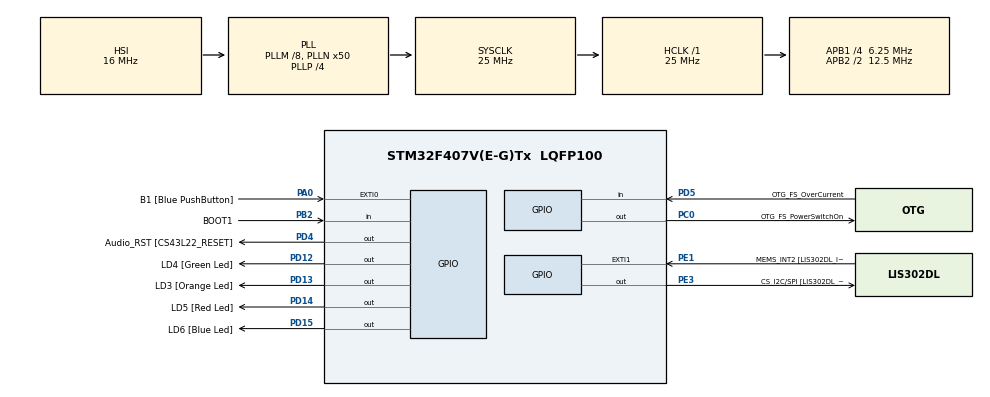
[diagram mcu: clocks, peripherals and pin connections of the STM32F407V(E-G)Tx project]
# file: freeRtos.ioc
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FREERTOS.Tasks01=defaultTask,24,128,StartDefaultTask,Default,NULL,Dynamic,NULL,NULL;Task01,8,128,StartTask01,Default,NULL,Dynamic,NULL,NULL;Task02,24,128,StartTask02,Default,NULL,Dynamic,NULL,NULL
Mcu.Family=STM32F4
Mcu.Name=STM32F407V(E-G)Tx
Mcu.Package=LQFP100
NVIC.PriorityGroup=NVIC_PRIORITYGROUP_4
NVIC.TIM6_DAC_IRQn=true\:15\:0\:false\:false\:true\:false\:false\:true\:true
NVIC.TimeBase=TIM6_DAC_IRQn
NVIC.TimeBaseIP=TIM6
PA0-WKUP.GPIO_Label=B1 [Blue PushButton]
PA0-WKUP.Signal=GPXTI0
PA10.GPIO_Label=OTG_FS_ID
PA10.GPIO_Mode=GPIO_MODE_AF_PP
PA10.GPIO_PuPd=GPIO_NOPULL
PA10.GPIO_Speed=GPIO_SPEED_FREQ_LOW
PA10.Signal=USB_OTG_FS_ID
PA11.GPIO_Label=OTG_FS_DM
PA11.GPIO_Mode=GPIO_MODE_AF_PP
PA11.GPIO_PuPd=GPIO_NOPULL
PA11.GPIO_Speed=GPIO_SPEED_FREQ_LOW
PA11.Signal=USB_OTG_FS_DM
PA12.GPIO_Label=OTG_FS_DP
PA12.GPIO_Mode=GPIO_MODE_AF_PP
PA12.GPIO_PuPd=GPIO_NOPULL
PA12.GPIO_Speed=GPIO_SPEED_FREQ_LOW
PA12.Signal=USB_OTG_FS_DP
PA13.GPIO_Label=SWDIO
PA13.Mode=Trace_Asynchronous_SW
PA13.Signal=SYS_JTMS-SWDIO
PA14.GPIO_Label=SWCLK
PA14.Mode=Trace_Asynchronous_SW
PA14.Signal=SYS_JTCK-SWCLK
PA4.GPIO_Label=I2S3_WS [CS43L22_LRCK]
PA4.GPIO_Mode=GPIO_MODE_AF_PP
PA4.GPIO_PuPd=GPIO_NOPULL
PA4.GPIO_Speed=GPIO_SPEED_FREQ_LOW
PA4.Signal=I2S3_WS
PA5.GPIO_Label=SPI1_SCK [LIS302DL_SCL/SPC]
PA5.GPIO_Mode=GPIO_MODE_AF_PP
PA5.GPIO_PuPd=GPIO_NOPULL
PA5.GPIO_Speed=GPIO_SPEED_FREQ_LOW
PA5.Signal=SPI1_SCK
PA6.GPIO_Label=SPI1_MISO [LIS302DL_SDO]
PA6.GPIO_Mode=GPIO_MODE_AF_PP
PA6.GPIO_PuPd=GPIO_NOPULL
PA6.GPIO_Speed=GPIO_SPEED_FREQ_LOW
PA6.Signal=SPI1_MISO
PA7.GPIO_Label=SPI1_MOSI [LIS302DL_SDA/SDI/SDO]
PA7.GPIO_Mode=GPIO_MODE_AF_PP
PA7.GPIO_PuPd=GPIO_NOPULL
PA7.GPIO_Speed=GPIO_SPEED_FREQ_LOW
PA7.Signal=SPI1_MOSI
PA9.GPIO_Label=VBUS_FS
PA9.GPIO_Mode=GPIO_MODE_INPUT
PA9.GPIO_PuPd=GPIO_NOPULL
PA9.Signal=USB_OTG_FS_VBUS
PB10.GPIO_Label=CLK_IN [MP45DT02_CLK]
PB10.GPIO_Mode=GPIO_MODE_AF_PP
PB10.GPIO_PuPd=GPIO_NOPULL
PB10.GPIO_Speed=GPIO_SPEED_FREQ_LOW
PB10.Signal=I2S2_CK
PB2.GPIO_Label=BOOT1
PB2.GPIO_Mode=GPIO_MODE_INPUT
PB2.GPIO_PuPd=GPIO_NOPULL
PB2.Signal=GPIO_Input
PB3.GPIO_Label=SWO
PB3.Mode=Trace_Asynchronous_SW
PB3.Signal=SYS_JTDO-SWO
PB6.GPIO_Label=Audio_SCL [CS43L22_SCL]
PB6.GPIO_Mode=GPIO_MODE_AF_OD
PB6.GPIO_PuPd=GPIO_NOPULL
PB6.GPIO_Speed=GPIO_SPEED_FREQ_LOW
PB6.Signal=I2C1_SCL
PB9.GPIO_Label=Audio_SDA [CS43L22_SDA]
PB9.GPIO_Mode=GPIO_MODE_AF_OD
PB9.GPIO_PuPd=GPIO_NOPULL
PB9.GPIO_Speed=GPIO_SPEED_FREQ_LOW
PB9.Signal=I2C1_SDA
PC0.GPIO_Label=OTG_FS_PowerSwitchOn
PC0.GPIO_PuPd=GPIO_NOPULL
PC0.GPIO_Speed=GPIO_SPEED_FREQ_LOW
PC0.PinState=GPIO_PIN_SET
PC0.Signal=GPIO_Output
PC10.GPIO_Label=I2S3_SCK [CS43L22_SCLK]
PC10.GPIO_Mode=GPIO_MODE_AF_PP
PC10.GPIO_PuPd=GPIO_NOPULL
PC10.GPIO_Speed=GPIO_SPEED_FREQ_LOW
PC10.Signal=I2S3_CK
PC12.GPIO_Label=I2S3_SD [CS43L22_SDIN]
PC12.GPIO_Mode=GPIO_MODE_AF_PP
PC12.GPIO_PuPd=GPIO_NOPULL
PC12.GPIO_Speed=GPIO_SPEED_FREQ_LOW
PC12.Signal=I2S3_SD
PC14-OSC32_IN.GPIO_Label=PC14-OSC32_IN
PC14-OSC32_IN.Signal=RCC_OSC32_IN
PC15-OSC32_OUT.GPIO_Label=PC15-OSC32_OUT
PC15-OSC32_OUT.Signal=RCC_OSC32_OUT
PC3.GPIO_Label=PDM_OUT [MP45DT02_DOUT]
PC3.GPIO_Mode=GPIO_MODE_AF_PP
PC3.GPIO_PuPd=GPIO_NOPULL
PC3.GPIO_Speed=GPIO_SPEED_FREQ_LOW
PC3.Signal=I2S2_SD
PC7.GPIO_Label=I2S3_MCK [CS43L22_MCLK]
PC7.GPIO_Mode=GPIO_MODE_AF_PP
PC7.GPIO_PuPd=GPIO_NOPULL
PC7.GPIO_Speed=GPIO_SPEED_FREQ_LOW
PC7.Signal=I2S3_MCK
PD12.GPIO_Label=LD4 [Green Led]
PD12.GPIO_PuPd=GPIO_NOPULL
PD12.GPIO_Speed=GPIO_SPEED_FREQ_LOW
PD12.Signal=GPIO_Output
PD13.GPIO_Label=LD3 [Orange Led]
PD13.GPIO_PuPd=GPIO_NOPULL
PD13.GPIO_Speed=GPIO_SPEED_FREQ_LOW
PD13.Signal=GPIO_Output
PD14.GPIO_Label=LD5 [Red Led]
PD14.GPIO_PuPd=GPIO_NOPULL
PD14.GPIO_Speed=GPIO_SPEED_FREQ_LOW
PD14.Signal=GPIO_Output
PD15.GPIO_Label=LD6 [Blue Led]
PD15.GPIO_PuPd=GPIO_NOPULL
PD15.GPIO_Speed=GPIO_SPEED_FREQ_LOW
PD15.Signal=GPIO_Output
PD4.GPIO_Label=Audio_RST [CS43L22_RESET]
PD4.GPIO_PuPd=GPIO_NOPULL
PD4.GPIO_Speed=GPIO_SPEED_FREQ_LOW
PD4.Signal=GPIO_Output
PD5.GPIO_Label=OTG_FS_OverCurrent
PD5.GPIO_Mode=GPIO_MODE_INPUT
PD5.GPIO_PuPd=GPIO_NOPULL
PD5.Signal=GPIO_Input
PE1.GPIO_Label=MEMS_INT2 [LIS302DL_INT2]
PE1.GPIO_ModeDefaultEXTI=GPIO_MODE_EVT_RISING
PE1.GPIO_PuPd=GPIO_NOPULL
PE1.Signal=GPXTI1
PE3.GPIO_Label=CS_I2C/SPI [LIS302DL_CS_I2C/SPI]
PE3.GPIO_PuPd=GPIO_NOPULL
PE3.GPIO_Speed=GPIO_SPEED_FREQ_LOW
PE3.Signal=GPIO_Output
PH0-OSC_IN.GPIO_Label=PH0-OSC_IN
PH0-OSC_IN.Signal=RCC_OSC_IN
PH1-OSC_OUT.GPIO_Label=PH1-OSC_OUT
PH1-OSC_OUT.Signal=RCC_OSC_OUT
ProjectManager.HeapSize=0x200
ProjectManager.StackSize=0x400
ProjectManager.TargetToolchain=STM32CubeIDE
RCC.48MHZClocksFreq_Value=14285714.285714285
RCC.AHBFreq_Value=25000000
RCC.APB1CLKDivider=RCC_HCLK_DIV4
RCC.APB1Freq_Value=6250000
RCC.APB1TimFreq_Value=12500000
RCC.APB2CLKDivider=RCC_HCLK_DIV2
RCC.APB2Freq_Value=12500000
RCC.APB2TimFreq_Value=25000000
RCC.CortexFreq_Value=25000000
RCC.HCLKFreq_Value=25000000
RCC.HSE_VALUE=8000000
RCC.HSI_VALUE=16000000
RCC.LSE_VALUE=32768
RCC.PLLM=8
RCC.PLLN=50
RCC.PLLP=RCC_PLLP_DIV4
RCC.PLLQ=7
RCC.SYSCLKFreq_VALUE=25000000
RCC.SYSCLKSource=RCC_SYSCLKSOURCE_PLLCLK
RCC.VCOOutputFreq_Value=100000000
VP_FREERTOS_VS_CMSIS_V2.Mode=CMSIS_V2
VP_SYS_VS_tim6.Mode=TIM6
board=STM32F407G-DISC1

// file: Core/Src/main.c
/* USER CODE BEGIN Header */
/**
  ******************************************************************************
  * @file           : main.c
  * @brief          : Main program body
  ******************************************************************************
  * @attention
  *
  * Copyright (c) 2024 STMicroelectronics.
  * All rights reserved.
  *
  * This software is licensed under terms that can be found in the LICENSE file
  * in the root directory of this software component.
  * If no LICENSE file comes with this software, it is provided AS-IS.
  *
  ******************************************************************************
  */
/* USER CODE END Header */
#include "main.h"

/* USER CODE BEGIN Includes */
#include <stdio.h>
#include "FreeRTOS.h"
#include "task.h"

/* USER CODE END Includes */

/* USER CODE BEGIN PD */
#define DWT_CTRL (*(volatile uint32_t *)0xE0001000)

/* USER CODE END PD */

/* Definitions for defaultTask */

void SystemClock_Config(void);
static void MX_GPIO_Init(void);
//void StartDefaultTask(void *argument);
//void StartTask01(void *argument);
//void StartTask02(void *argument);
static void Task1_Handle(void* parameters);
static void Task2_Handle(void* parameters);

int main(void)
{
  /* USER CODE BEGIN 1 */
	TaskHandle_t task1_handle;
	TaskHandle_t task2_handle;
	BaseType_t status;

  /* USER CODE END 1 */

  /* MCU Configuration--------------------------------------------------------*/

  /* Reset of all peripherals, Initializes the Flash interface and the Systick. */
  HAL_Init();

  /* Configure the system clock */
  SystemClock_Config();

  /* Initialize all configured peripherals */
  MX_GPIO_Init();

  /* Init scheduler */

  /* Create the thread(s) */
  /* creation of defaultTask */
  /* Enable CYCNT counter */
  DWT_CTRL |= (1<<0);

  SEGGER_SYSVIEW_Conf();
  SEGGER_SYSVIEW_Start();

  status = xTaskCreate(Task1_Handle, "Task-1", 200, "Hello World from Task-1",2, &task1_handle);

  configASSERT(status == pdPASS);

  status = xTaskCreate(Task2_Handle, "Task-2", 200, "Hello World from Task-2",2, &task2_handle);

  configASSERT(status == pdPASS);

  vTaskStartScheduler();

  /* creation of Task02 */

  /* Start scheduler */

  /* We should never get here as control is now taken by the scheduler */
  /* Infinite loop */
  while (1)
  {

  }
}

void SystemClock_Config(void)
{
  RCC_OscInitTypeDef RCC_OscInitStruct = {0};
  RCC_ClkInitTypeDef RCC_ClkInitStruct = {0};

  /** Configure the main internal regulator output voltage
  */
  __HAL_RCC_PWR_CLK_ENABLE();
  __HAL_PWR_VOLTAGESCALING_CONFIG(PWR_REGULATOR_VOLTAGE_SCALE1);

  /** Initializes the RCC Oscillators according to the specified parameters
  * in the RCC_OscInitTypeDef structure.
  */
  RCC_OscInitStruct.OscillatorType = RCC_OSCILLATORTYPE_HSI;
  RCC_OscInitStruct.HSIState = RCC_HSI_ON;
  RCC_OscInitStruct.HSICalibrationValue = RCC_HSICALIBRATION_DEFAULT;
  RCC_OscInitStruct.PLL.PLLState = RCC_PLL_ON;
  RCC_OscInitStruct.PLL.PLLSource = RCC_PLLSOURCE_HSI;
  RCC_OscInitStruct.PLL.PLLM = 8;
  RCC_OscInitStruct.PLL.PLLN = 50;
  RCC_OscInitStruct.PLL.PLLP = RCC_PLLP_DIV4;
  RCC_OscInitStruct.PLL.PLLQ = 7;
  if (HAL_RCC_OscConfig(&RCC_OscInitStruct) != HAL_OK)
  {
    Error_Handler();
  }

  /** Initializes the CPU, AHB and APB buses clocks
  */
  RCC_ClkInitStruct.ClockType = RCC_CLOCKTYPE_HCLK|RCC_CLOCKTYPE_SYSCLK
                              |RCC_CLOCKTYPE_PCLK1|RCC_CLOCKTYPE_PCLK2;
  RCC_ClkInitStruct.SYSCLKSource = RCC_SYSCLKSOURCE_PLLCLK;
  RCC_ClkInitStruct.AHBCLKDivider = RCC_SYSCLK_DIV1;
  RCC_ClkInitStruct.APB1CLKDivider = RCC_HCLK_DIV4;
  RCC_ClkInitStruct.APB2CLKDivider = RCC_HCLK_DIV2;

  if (HAL_RCC_ClockConfig(&RCC_ClkInitStruct, FLASH_LATENCY_0) != HAL_OK)
  {
    Error_Handler();
  }
}

static void MX_GPIO_Init(void)
{
  GPIO_InitTypeDef GPIO_InitStruct = {0};

  /* GPIO Ports Clock Enable */
  __HAL_RCC_GPIOE_CLK_ENABLE();
  __HAL_RCC_GPIOC_CLK_ENABLE();
  __HAL_RCC_GPIOH_CLK_ENABLE();
  __HAL_RCC_GPIOA_CLK_ENABLE();
  __HAL_RCC_GPIOB_CLK_ENABLE();
  __HAL_RCC_GPIOD_CLK_ENABLE();

  /*Configure GPIO pin Output Level */
  HAL_GPIO_WritePin(CS_I2C_SPI_GPIO_Port, CS_I2C_SPI_Pin, GPIO_PIN_RESET);

  /*Configure GPIO pin Output Level */
  HAL_GPIO_WritePin(OTG_FS_PowerSwitchOn_GPIO_Port, OTG_FS_PowerSwitchOn_Pin, GPIO_PIN_SET);

  /*Configure GPIO pin Output Level */
  HAL_GPIO_WritePin(GPIOD, LD4_Pin|LD3_Pin|LD5_Pin|LD6_Pin
                          |Audio_RST_Pin, GPIO_PIN_RESET);

  /*Configure GPIO pin : CS_I2C_SPI_Pin */
  GPIO_InitStruct.Pin = CS_I2C_SPI_Pin;
  GPIO_InitStruct.Mode = GPIO_MODE_OUTPUT_PP;
  GPIO_InitStruct.Pull = GPIO_NOPULL;
  GPIO_InitStruct.Speed = GPIO_SPEED_FREQ_LOW;
  HAL_GPIO_Init(CS_I2C_SPI_GPIO_Port, &GPIO_InitStruct);

  /*Configure GPIO pin : OTG_FS_PowerSwitchOn_Pin */
  GPIO_InitStruct.Pin = OTG_FS_PowerSwitchOn_Pin;
  GPIO_InitStruct.Mode = GPIO_MODE_OUTPUT_PP;
  GPIO_InitStruct.Pull = GPIO_NOPULL;
  GPIO_InitStruct.Speed = GPIO_SPEED_FREQ_LOW;
  HAL_GPIO_Init(OTG_FS_PowerSwitchOn_GPIO_Port, &GPIO_InitStruct);

  /*Configure GPIO pin : PDM_OUT_Pin */
  GPIO_InitStruct.Pin = PDM_OUT_Pin;
  GPIO_InitStruct.Mode = GPIO_MODE_AF_PP;
  GPIO_InitStruct.Pull = GPIO_NOPULL;
  GPIO_InitStruct.Speed = GPIO_SPEED_FREQ_LOW;
  GPIO_InitStruct.Alternate = GPIO_AF5_SPI2;
  HAL_GPIO_Init(PDM_OUT_GPIO_Port, &GPIO_InitStruct);

  /*Configure GPIO pin : B1_Pin */
  GPIO_InitStruct.Pin = B1_Pin;
  GPIO_InitStruct.Mode = GPIO_MODE_IT_RISING;
  GPIO_InitStruct.Pull = GPIO_NOPULL;
  HAL_GPIO_Init(B1_GPIO_Port, &GPIO_InitStruct);

  /*Configure GPIO pin : I2S3_WS_Pin */
  GPIO_InitStruct.Pin = I2S3_WS_Pin;
  GPIO_InitStruct.Mode = GPIO_MODE_AF_PP;
  GPIO_InitStruct.Pull = GPIO_NOPULL;
  GPIO_InitStruct.Speed = GPIO_SPEED_FREQ_LOW;
  GPIO_InitStruct.Alternate = GPIO_AF6_SPI3;
  HAL_GPIO_Init(I2S3_WS_GPIO_Port, &GPIO_InitStruct);

  /*Configure GPIO pins : SPI1_SCK_Pin SPI1_MISO_Pin SPI1_MOSI_Pin */
  GPIO_InitStruct.Pin = SPI1_SCK_Pin|SPI1_MISO_Pin|SPI1_MOSI_Pin;
  GPIO_InitStruct.Mode = GPIO_MODE_AF_PP;
  GPIO_InitStruct.Pull = GPIO_NOPULL;
  GPIO_InitStruct.Speed = GPIO_SPEED_FREQ_LOW;
  GPIO_InitStruct.Alternate = GPIO_AF5_SPI1;
  HAL_GPIO_Init(GPIOA, &GPIO_InitStruct);

  /*Configure GPIO pin : BOOT1_Pin */
  GPIO_InitStruct.Pin = BOOT1_Pin;
  GPIO_InitStruct.Mode = GPIO_MODE_INPUT;
  GPIO_InitStruct.Pull = GPIO_NOPULL;
  HAL_GPIO_Init(BOOT1_GPIO_Port, &GPIO_InitStruct);

  /*Configure GPIO pin : CLK_IN_Pin */
  GPIO_InitStruct.Pin = CLK_IN_Pin;
  GPIO_InitStruct.Mode = GPIO_MODE_AF_PP;
  GPIO_InitStruct.Pull = GPIO_NOPULL;
  GPIO_InitStruct.Speed = GPIO_SPEED_FREQ_LOW;
  GPIO_InitStruct.Alternate = GPIO_AF5_SPI2;
  HAL_GPIO_Init(CLK_IN_GPIO_Port, &GPIO_InitStruct);

  /*Configure GPIO pins : LD4_Pin LD3_Pin LD5_Pin LD6_Pin
                           Audio_RST_Pin */
  GPIO_InitStruct.Pin = LD4_Pin|LD3_Pin|LD5_Pin|LD6_Pin
                          |Audio_RST_Pin;
  GPIO_InitStruct.Mode = GPIO_MODE_OUTPUT_PP;
  GPIO_InitStruct.Pull = GPIO_NOPULL;
  GPIO_InitStruct.Speed = GPIO_SPEED_FREQ_LOW;
  HAL_GPIO_Init(GPIOD, &GPIO_InitStruct);

  /*Configure GPIO pins : I2S3_MCK_Pin I2S3_SCK_Pin I2S3_SD_Pin */
  GPIO_InitStruct.Pin = I2S3_MCK_Pin|I2S3_SCK_Pin|I2S3_SD_Pin;
  GPIO_InitStruct.Mode = GPIO_MODE_AF_PP;
  GPIO_InitStruct.Pull = GPIO_NOPULL;
  GPIO_InitStruct.Speed = GPIO_SPEED_FREQ_LOW;
  GPIO_InitStruct.Alternate = GPIO_AF6_SPI3;
  HAL_GPIO_Init(GPIOC, &GPIO_InitStruct);

  /*Configure GPIO pin : VBUS_FS_Pin */
  GPIO_InitStruct.Pin = VBUS_FS_Pin;
  GPIO_InitStruct.Mode = GPIO_MODE_INPUT;
  GPIO_InitStruct.Pull = GPIO_NOPULL;
  HAL_GPIO_Init(VBUS_FS_GPIO_Port, &GPIO_InitStruct);

  /*Configure GPIO pins : OTG_FS_ID_Pin OTG_FS_DM_Pin OTG_FS_DP_Pin */
  GPIO_InitStruct.Pin = OTG_FS_ID_Pin|OTG_FS_DM_Pin|OTG_FS_DP_Pin;
  GPIO_InitStruct.Mode = GPIO_MODE_AF_PP;
  GPIO_InitStruct.Pull = GPIO_NOPULL;
  GPIO_InitStruct.Speed = GPIO_SPEED_FREQ_LOW;
  GPIO_InitStruct.Alternate = GPIO_AF10_OTG_FS;
  HAL_GPIO_Init(GPIOA, &GPIO_InitStruct);

  /*Configure GPIO pin : OTG_FS_OverCurrent_Pin */
  GPIO_InitStruct.Pin = OTG_FS_OverCurrent_Pin;
  GPIO_InitStruct.Mode = GPIO_MODE_INPUT;
  GPIO_InitStruct.Pull = GPIO_NOPULL;
  HAL_GPIO_Init(OTG_FS_OverCurrent_GPIO_Port, &GPIO_InitStruct);

  /*Configure GPIO pins : Audio_SCL_Pin Audio_SDA_Pin */
  GPIO_InitStruct.Pin = Audio_SCL_Pin|Audio_SDA_Pin;
  GPIO_InitStruct.Mode = GPIO_MODE_AF_OD;
  GPIO_InitStruct.Pull = GPIO_NOPULL;
  GPIO_InitStruct.Speed = GPIO_SPEED_FREQ_LOW;
  GPIO_InitStruct.Alternate = GPIO_AF4_I2C1;
  HAL_GPIO_Init(GPIOB, &GPIO_InitStruct);

  /*Configure GPIO pin : MEMS_INT2_Pin */
  GPIO_InitStruct.Pin = MEMS_INT2_Pin;
  GPIO_InitStruct.Mode = GPIO_MODE_EVT_RISING;
  GPIO_InitStruct.Pull = GPIO_NOPULL;
  HAL_GPIO_Init(MEMS_INT2_GPIO_Port, &GPIO_InitStruct);

}

/* USER CODE BEGIN 4 */
static void Task1_Handle(void* parameters){
	char msg[100];
	while(1){
		//printf("%s\n", (char*)parameters);
		snprintf(msg,100,"%s\n", (char*)parameters);
		SEGGER_SYSVIEW_PrintfTarget(msg);
		taskYIELD();
	}

}

static void Task2_Handle(void* parameters){
	char msg[100];
	while(1){
			//printf("%s\n", (char*)parameters);
			snprintf(msg,100,"%s\n", (char*)parameters);
			SEGGER_SYSVIEW_PrintfTarget(msg);
			taskYIELD();
		}

}

/* USER CODE END 4 */

void HAL_TIM_PeriodElapsedCallback(TIM_HandleTypeDef *htim)
{
  if (htim->Instance == TIM6) {
    HAL_IncTick();
  }
}

void Error_Handler(void)
{
  __disable_irq();
  while (1)
  {
  }
}
